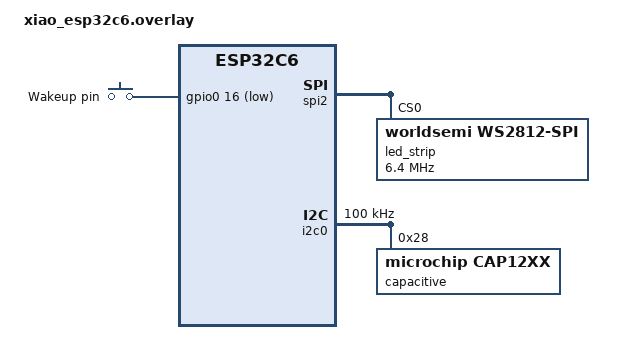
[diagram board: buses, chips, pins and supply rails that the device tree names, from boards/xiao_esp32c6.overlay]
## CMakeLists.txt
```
# SPDX-License-Identifier: Apache-2.0

cmake_minimum_required(VERSION 3.20.0)

find_package(Zephyr REQUIRED HINTS $ENV{ZEPHYR_BASE})
project(led_strip)

FILE(GLOB app_sources src/*.c)
target_sources(app PRIVATE ${app_sources})

# add_subdirectory(src/bt)
add_subdirectory(src/led_player)
add_subdirectory(src/touch_controller)
add_subdirectory(src/factory_settings)
add_subdirectory(src/context_storage)
add_subdirectory_ifdef(CONFIG_PM src/low_power)

target_include_directories(app PRIVATE
    src)
```

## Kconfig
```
# Copyright (c) 2019 Nordic Semiconductor ASA
# SPDX-License-Identifier: Apache-2.0

module = APP
module-str = APP
source "subsys/logging/Kconfig.template.log_config"


menu "WS2812 Sample Configuration"

config SAMPLE_LED_UPDATE_DELAY
	int "Delay between LED updates in ms"
	default 50
	help
	  Delay between LED updates in ms.

config APP_IMPLEMENT_BT
	bool "Implement Bluetooth connectivity"
	select CONFIG_BT
	select CONFIG_BT_ESP32
	select CONFIG_BT_PERIPHERAL
	select CONFIG_BT_SMP
	default y
	help
	  Add Bluetooth connectivity (peripheral mode).

config APP_BT_DEVICE_NAME
    string "Bluetooth Device Name"
    default "LED strip" if APP_IMPLEMENT_BT
    help
      Set the Bluetooth device name.

endmenu

source "Kconfig.zephyr"
```

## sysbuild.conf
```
# Sysbuild configuration file.

# Enable MCUboot per default for this sample.
SB_CONFIG_BOOTLOADER_MCUBOOT=y
# SB_CONFIG_BOOT_SIGNATURE_TYPE_NONE=y

# Set absolute path to signature file
# SB_CONFIG_BOOT_SIGNATURE_KEY_FILE="${APP_DIR}/../keys/development_priv.pem"
```

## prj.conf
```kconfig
CONFIG_LOG=y
CONFIG_LED_STRIP=y
CONFIG_LED_STRIP_LOG_LEVEL_DBG=y

CONFIG_POLL=y

CONFIG_I2C=y
CONFIG_SHELL=y
CONFIG_I2C_SHELL=n

# CONFIG_BT=y
# CONFIG_BT_ESP32=y
# CONFIG_BT_GATT_CLIENT=y
# CONFIG_BT_PERIPHERAL=y
# CONFIG_BT_SMP=y
# CONFIG_BT_HCI=y
# CONFIG_BT_CTLR=n
# CONFIG_BT_CONN_LOG_LEVEL_DBG=n
# CONFIG_BT_FIXED_PASSKEY=y
# CONFIG_BT_PRIVACY=y
# CONFIG_BT_EXT_ADV=n
# CONFIG_BT_RPA_TIMEOUT=300

CONFIG_INPUT=y
CONFIG_INPUT_SHELL=n
CONFIG_INPUT_EVENT_DUMP=n
CONFIG_INPUT_LOG_LEVEL_DBG=n

# Stack usage analysis
# CONFIG_THREAD_ANALYZER=y
# CONFIG_THREAD_ANALYZER_USE_LOG=y
# CONFIG_THREAD_ANALYZER_AUTO_INTERVAL=5
# CONFIG_THREAD_ANALYZER_AUTO=y
# CONFIG_THREAD_RUNTIME_STATS=y
# CONFIG_THREAD_NAME=y

CONFIG_FLASH=y
CONFIG_MPU_ALLOW_FLASH_WRITE=y
CONFIG_FLASH_MAP=y
CONFIG_FLASH_PAGE_LAYOUT=y
CONFIG_CRC=y

CONFIG_SHELL=y
CONFIG_CONSOLE=y

# CONFIG_APP_IMPLEMENT_BT=y

CONFIG_POWEROFF=n
# CONFIG_PM=y
# # Required to disable default behavior of deep sleep on timeout
# CONFIG_PM_DEVICE=y
# CONFIG_GPIO=y
# CONFIG_LOG_BACKEND_UART=y
# CONFIG_PM_POLICY_CUSTOM=y
# CONFIG_PM_DEVICE_RUNTIME=y
# CONFIG_PM_DEVICE_RUNTIME_EXCLUSIVE=y
# CONFIG_PM_DEVICE_SYSTEM_MANAGED=y
```

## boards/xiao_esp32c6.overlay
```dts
/*
 * Copyright (c) 2022 Espressif Systems (Shanghai) Co., Ltd.
 *
 * SPDX-License-Identifier: Apache-2.0
 */

 #include <zephyr/dt-bindings/led/led.h>
 #include <zephyr/dt-bindings/input/input-event-codes.h>

 &spi2 {
     /* Workaround to support WS2812 driver */
     line-idle-low;
 
         led_strip: ws2812@0 {
                 compatible = "worldsemi,ws2812-spi";
 
                 /* SPI */
                 reg = <0>; /* ignored, but necessary for SPI bindings */
                 spi-max-frequency = <6400000>;
 
                 /* WS2812 */
                 chain-length = <28>; /* arbitrary; change at will */
                 spi-cpha;
                 spi-one-frame = <0xf0>; /* 11110000: 625 ns high and 625 ns low */
                 spi-zero-frame = <0xc0>; /* 11000000: 312.5 ns high and 937.5 ns low */
                 color-mapping = <LED_COLOR_ID_RED
                                  LED_COLOR_ID_GREEN
                                  LED_COLOR_ID_BLUE>;
         };
 };

 &i2c0 {
        clock-frequency = <I2C_BITRATE_STANDARD>;
        capacitive: cap12xx@28 {
                compatible = "microchip,cap12xx";
                reg = <0x28>;
                //int-gpios = <&gpio0 16 GPIO_ACTIVE_LOW>;
                input-codes = <INPUT_KEY_0>, <INPUT_KEY_1>, <INPUT_KEY_2>;
                //repeat;
                poll-interval-ms = <2>;
        };
};
 
 / {
        longpress: longpress {
                input = <&capacitive>;
                compatible = "zephyr,input-longpress";
                input-codes = <INPUT_KEY_0>, <INPUT_KEY_1>, <INPUT_KEY_2>;
                long-codes = <INPUT_KEY_X>, <INPUT_KEY_Y>, <INPUT_KEY_Z>;
                long-delay-ms = <1000>;
        };
         aliases {
                 led-strip = &led_strip;
                 touch = &capacitive;
                 long-touch = &longpress;
                 wakeup-pin = &wakeup;
         };
         gpio_keys {
		compatible = "gpio-keys";
		wakeup: wakeup_it {
			label = "Wakeup pin";
			gpios = <&gpio0 16 GPIO_ACTIVE_LOW>;
                        zephyr,code = <INPUT_KEY_6>;
		};
	};

         
 };

&flash0 {
	partitions {
		compatible = "fixed-partitions";
		#address-cells = <1>;
		#size-cells = <1>;

                /delete-property/ slot0_partition;
                /delete-property/ slot1_partition;

		//boot_partition: partition@0 {
		//	label = "mcuboot";
		//	reg = <0x00000000 DT_SIZE_K(128)>;
		//};
		slot0_partition: partition@20000 {
			label = "image-0";
			reg = <0x00020000 0x1d0000>;
		};
		slot1_partition: partition@1F0000 {
			//label = "image-1";
			reg = <0x001f0000 0x1d0000>;
		};
		storage_partition: partition@3C0000 {
			label = "storage";
			reg = <0x003c0000 DT_SIZE_K(60)>;
		};
                factory_partition: partition@3C9000 {
			label = "factory";
			reg = <0x003c9000 DT_SIZE_K(64)>;
		};
        };
};
```

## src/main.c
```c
/*
 * Copyright (c) 2024 Romain Pelletant
 *
 * SPDX-License-Identifier: Apache-2.0
 */

#include <zephyr/kernel.h>

#define LOG_LEVEL 4
#include <zephyr/logging/log.h>
LOG_MODULE_REGISTER(main);

#include <led_player/led_player.h>
#include <factory_settings/factory_settings.h>

/////////////////////////////////////
// Local variables declarations
/////////////////////////////////////

static struct factory_data *factory_settings;

/////////////////////////////////////
// Local function declarations
/////////////////////////////////////

/////////////////////////////////////
// Local functions definition
/////////////////////////////////////

/////////////////////////////////////
// Functions definition
/////////////////////////////////////

int main(void)
{
	if (factory_settings_read()) {
		LOG_ERR("Failed to read factory data: default configuration used");
	}

	factory_settings = factory_settings_get();

	led_player_init((uint32_t*) factory_settings->led_length);

	while(1) {
		k_sleep(K_SECONDS(1));
	}
	return 0;
}
```
